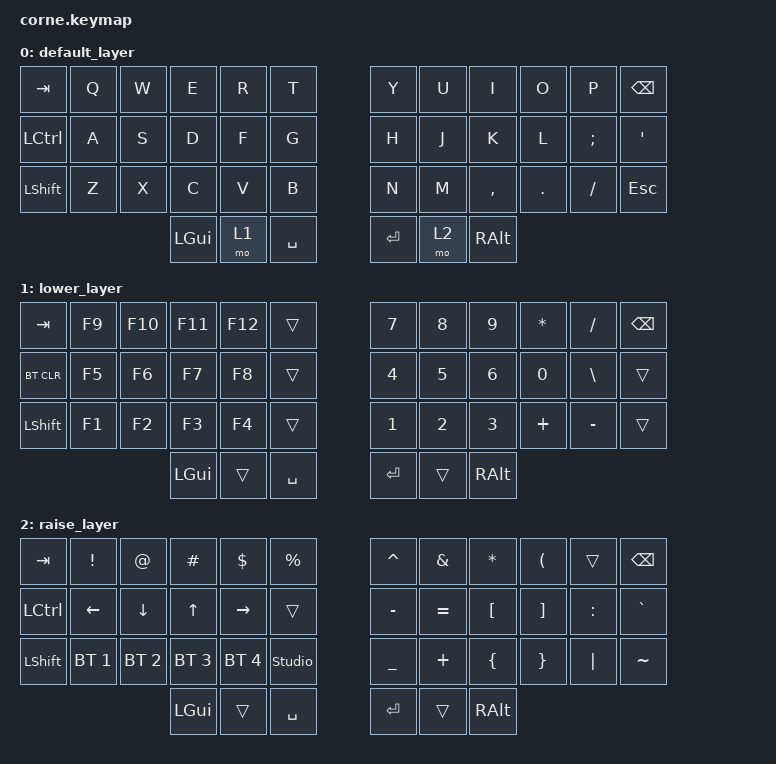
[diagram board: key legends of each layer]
/*
 * Copyright (c) 2020 The ZMK Contributors
 *
 * SPDX-License-Identifier: MIT
 */

#include <behaviors.dtsi>
#include <dt-bindings/zmk/keys.h>
#include <dt-bindings/zmk/bt.h>

/ {
        keymap {
                compatible = "zmk,keymap";

                default_layer {
// -----------------------------------------------------------------------------------------
// |  TAB |  Q  |  W  |  E  |  R  |  T  |   |  Y  |  U   |  I  |  O  |  P  | BSPC |
// | CTRL |  A  |  S  |  D  |  F  |  G  |   |  H  |  J   |  K  |  L  |  ;  |  '   |
// | SHFT |  Z  |  X  |  C  |  V  |  B  |   |  N  |  M   |  ,  |  .  |  /  | ESC  |
//                    | GUI | LWR | SPC |   | ENT | RSE  | ALT |
                        bindings = <
   &kp TAB   &kp Q &kp W &kp E &kp R &kp T   &kp Y &kp U  &kp I     &kp O   &kp P    &kp BSPC
   &kp LCTRL &kp A &kp S &kp D &kp F &kp G   &kp H &kp J  &kp K     &kp L   &kp SEMI &kp SQT
   &kp LSHFT &kp Z &kp X &kp C &kp V &kp B   &kp N &kp M  &kp COMMA &kp DOT &kp FSLH &kp ESC
                  &kp LGUI &mo 1 &kp SPACE   &kp RET &mo 2 &kp RALT
                        >;
                };
                lower_layer {
// -----------------------------------------------------------------------------------------
// |  TAB |  fn9| fn10| fn11| fn12|     |   |  7  |  8  |  9  |  *  |  /  | BSPC |
// | BTCLR|  fn5| fn6 | fn7 | fn8 |     |   |  4  |  5  |  6  |  0  |  \  |      |
// | SHFT |  fn1| fn2 | fn3 | fn4 |     |   |  1  |  2  |  3  |  +  |  -  |      |
//                    | GUI |     | SPC |   | ENT |     | ALT |
                        bindings = <
   &kp TAB &kp F9 &kp F10 &kp F11 &kp F12  &trans          &kp N7 &kp N8 &kp N9 &kp ASTRK &kp FSLH &kp BSPC
   &bt BT_CLR &kp F5 &kp F6 &kp F7 &kp F8  &trans       &kp N4 &kp N5 &kp N6 &kp N0 &kp BSLH &trans
   &kp LSHFT  &kp F1 &kp F2 &kp F3 &kp F4  &trans       &kp N1 &kp N2 &kp N3 &kp PLUS &kp MINUS &trans
                        &kp LGUI  &trans &kp SPACE      &kp RET  &trans   &kp RALT
                        >;
                };

                raise_layer {:
// -----------------------------------------------------------------------------------------
// |  TAB |  !  |  @  |  #  |  $  |  %  |   |  ^  |  &  |  (  |  )  |     | BSPC |
// | CTRL | LFT | DWN | UP  | RGT |     |   |     |  =  |  [  |  ]  |  :  |  `   |
// | SHFT | BT1 | BT2 | BT3 | BT4 |STUNL|   |  _  |  +  |  {  |  }  | "|" |  ~   |
//                    | GUI |     | SPC |   | ENT |     | ALT |
                        bindings = <
   &kp TAB &kp EXCL &kp AT &kp HASH &kp DLLR &kp PRCNT                         &kp CARET &kp AMPS  &kp ASTRK &kp LPAR &trans &kp BSPC
   &kp LCTRL &kp LEFT &kp DOWN &kp UP &kp RIGHT &trans                         &kp MINUS &kp EQUAL &kp LBKT  &kp RBKT &kp COLON &kp GRAVE
   &kp LSHFT &bt BT_SEL 1 &bt BT_SEL 2 &bt BT_SEL 3 &bt BT_SEL 4 &studio_unlock        &kp UNDER &kp PLUS  &kp LBRC  &kp RBRC &kp PIPE &kp TILDE
                        &kp LGUI &trans &kp SPACE                               &kp RET   &trans    &kp RALT
                        >;
                };
        };
};
